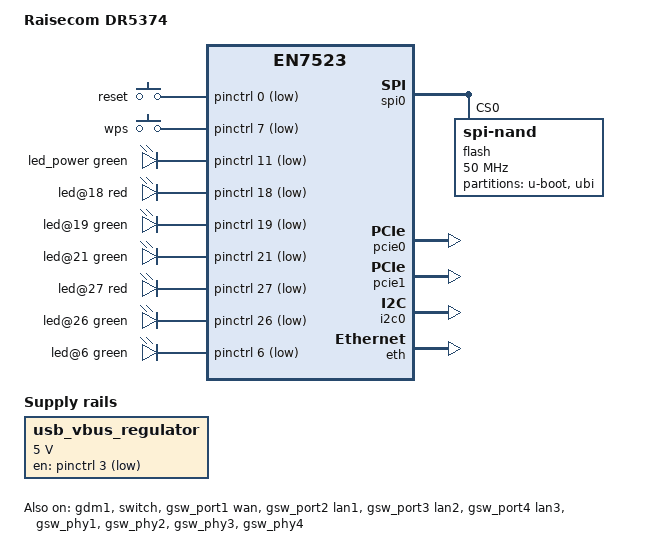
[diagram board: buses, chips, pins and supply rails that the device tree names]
/* SPDX-License-Identifier: GPL-2.0-or-later OR MIT */
/dts-v1/;

#include <dt-bindings/leds/common.h>
#include <dt-bindings/gpio/gpio.h>
#include <dt-bindings/input/input.h>
#include "en7523.dtsi"

/ {
	model = "Raisecom DR5374";
	compatible = "raisecom,dr5374", "airoha,en7523";

	chosen {
		rootdisk = <&firmware>;
		bootargs = "console=ttyS0,115200 earlycon ubi.block=0,fit root=/dev/fit0 rootwait";
		stdout-path = "serial0:115200n8";
	};

	aliases {
		serial0 = &uart1;
		led-boot = &led_power;
		led-failsafe = &led_power;
		led-upgrade = &led_power;
		led-running = &led_power;
	};

	keys {
		compatible = "gpio-keys-polled";
		poll-interval = <100>;

		reset {
			label = "reset";
			linux,code = <KEY_RESTART>;
			gpios = <&pinctrl 0 GPIO_ACTIVE_LOW>;
			debounce-interval = <60>;
		};

		wps {
			label = "wps";
			linux,code = <KEY_WPS_BUTTON>;
			gpios = <&pinctrl 7 GPIO_ACTIVE_LOW>;
			debounce-interval = <60>;
		};
	};

	leds {
		compatible = "gpio-leds";

		/* Power */
		led_power: led@11 {
			color = <LED_COLOR_ID_GREEN>;
			function = LED_FUNCTION_STATUS;
			function-enumerator = <11>;
			gpios = <&pinctrl 11 GPIO_ACTIVE_LOW>;
		};

		/* Internet Status - Red */
		led@18 {
			color = <LED_COLOR_ID_RED>;
			function = LED_FUNCTION_WAN;
			function-enumerator = <18>;
			gpios = <&pinctrl 18 GPIO_ACTIVE_LOW>;
		};

		/* Internet Status - Green */
		led@19 {
			color = <LED_COLOR_ID_GREEN>;
			function = LED_FUNCTION_WAN_ONLINE;
			function-enumerator = <19>;
			gpios = <&pinctrl 19 GPIO_ACTIVE_LOW>;
		};

		/* LAN */
		led@21 {
			color = <LED_COLOR_ID_GREEN>;
			function = LED_FUNCTION_LAN;
			function-enumerator = <21>;
			gpios = <&pinctrl 21 GPIO_ACTIVE_LOW>;
		};

		/* WPS */
		led@27 {
			color = <LED_COLOR_ID_RED>;
			function = LED_FUNCTION_WPS;
			function-enumerator = <27>;
			gpios = <&pinctrl 27 GPIO_ACTIVE_LOW>;
		};

		/* MESH */
		led@26 {
			/* LED_FUNCTION_MESH isn't implemented yet */
			color = <LED_COLOR_ID_GREEN>;
			function = "mesh";
			function-enumerator = <26>;
			gpios = <&pinctrl 26 GPIO_ACTIVE_LOW>;
		};

		/* WIFI */
		led@6 {
			color = <LED_COLOR_ID_GREEN>;
			function = LED_FUNCTION_WLAN;
			function-enumerator = <6>;
			gpios = <&pinctrl 6 GPIO_ACTIVE_LOW>;
		};
	};

	usb_vbus_regulator: regulator-usb-vbus {
		compatible = "regulator-fixed";
		regulator-name = "usb_vbus";
		regulator-min-microvolt = <5000000>;
		regulator-max-microvolt = <5000000>;
		gpios = <&pinctrl 3 GPIO_ACTIVE_LOW>;
		regulator-boot-on;
	};
};

/*
Old maping NAND

	0x000000000000-0x000000080000 : "bootloader"
	0x000000080000-0x0000000c0000 : "romfile"
	0x0000000c0000-0x000001ec0000 : "tclinux"
	0x000001ec0000-0x000003cc0000 : "tclinux_slave"
	0x000003cc0000-0x0000040c0000 : "data"
	0x0000040c0000-0x0000042c0000 : "config"
	0x0000042c0000-0x00000ddc0000 : "yaffs"
	0x00000ddc0000-0x00000e000000 : "reservearea"

---------------------------------------------------------------------

New Maping:
	0x00000000-0x00100000 : BL1 + FIP (BL2 + BL31 + BL33)
	0x00100000-           : UBI (uboot env{1,2} + ART (misc part) + fit (firmware))
*/
&spi0 {
	flash@0 {
		reg = <0>;
		compatible = "spi-nand";
		spi-max-frequency = <50000000>;
		spi-tx-bus-width = <1>;
		spi-rx-bus-width = <2>;

		partitions {
			compatible = "fixed-partitions";
			#address-cells = <1>;
			#size-cells = <1>;

			partition@0 {
				label = "u-boot";
				reg = <0x00000000 0x00100000>;
				read-only;
			};

			partition@100000 {
				label = "ubi";
				compatible = "linux,ubi";
				reg = <0x00100000 0x0>;

				volumes {
					ubi-volume-ubootenv {
						volname = "ubootenv";
						nvmem-layout {
							compatible = "u-boot,env-redundant-bool";
						};
					};

					ubi-volume-ubootenv2 {
						volname = "ubootenv2";
						nvmem-layout {
							compatible = "u-boot,env-redundant-bool";

							ubootenv_ethaddr: ethaddr {
								#nvmem-cell-cells = <1>;
							};
						};
					};

					ubi-volume-art {
						volname = "art";
						read-only;

						nvmem-layout {
							compatible = "fixed-layout";
							#address-cells = <1>;
							#size-cells = <1>;

							eeprom0: eeprom@80000 {
								reg = <0x4C000 0x1000>;
							};
						};
					};

					firmware: ubi-volume-firmware {
						volname = "fit";
						compatible = "denx,uimage";
					};
				};
			};
		};
	};
};

&usb0 {
	status = "disabled";
	vbus-supply = <&usb_vbus_regulator>;
};

&pcie0 {
	status = "okay";
};

&pcie1 {
	status = "okay";

	pcie@1,0 {
		reg = <0x00000800 0 0 0 0>;
		#address-cells = <3>;
		#size-cells = <2>;

		mt7916@0,0 {
			reg = <0x0000 0 0 0 0>;
			#address-cells = <1>;
			#size-cells = <0>;
			nvmem-cells = <&eeprom0>;
			nvmem-cell-names = "eeprom";
			airoha,eth = <&eth>;

			/* 2.4 GHz - base MAC + 2 (the base MAC is used by eth) */
			band@0 {
				reg = <0>;
				nvmem-cells = <&ubootenv_ethaddr 2>;
				nvmem-cell-names = "mac-address";
			};

			/* 5 GHz - base MAC + 3 */
			band@1 {
				reg = <1>;
				nvmem-cells = <&ubootenv_ethaddr 3>;
				nvmem-cell-names = "mac-address";
			};
		};
	};
};

&i2c0 {
	status = "okay";
};

&npu {
	status = "disabled";
};

&eth {
	status = "okay";
};

&gdm1 {
	status = "okay";

	nvmem-cells = <&ubootenv_ethaddr 0>;
	nvmem-cell-names = "mac-address";
};

&switch {
	status = "okay";

	pinctrl-names = "default";
	pinctrl-0 = <&mdio_pins>;
};

&gsw_port6 {
	nvmem-cells = <&ubootenv_ethaddr 0>;
	nvmem-cell-names = "mac-address";
};

&gsw_port1 {
	label = "wan";
	status = "okay";
};

&gsw_port2 {
	label = "lan1";
	status = "okay";
};

&gsw_port3 {
	label = "lan2";
	status = "okay";
};

&gsw_port4 {
	label = "lan3";
	status = "okay";
};

&gsw_phy1 {
	status = "okay";
};

&gsw_phy2 {
	status = "okay";
};

&gsw_phy3 {
	status = "okay";
};

&gsw_phy4 {
	status = "okay";
};
